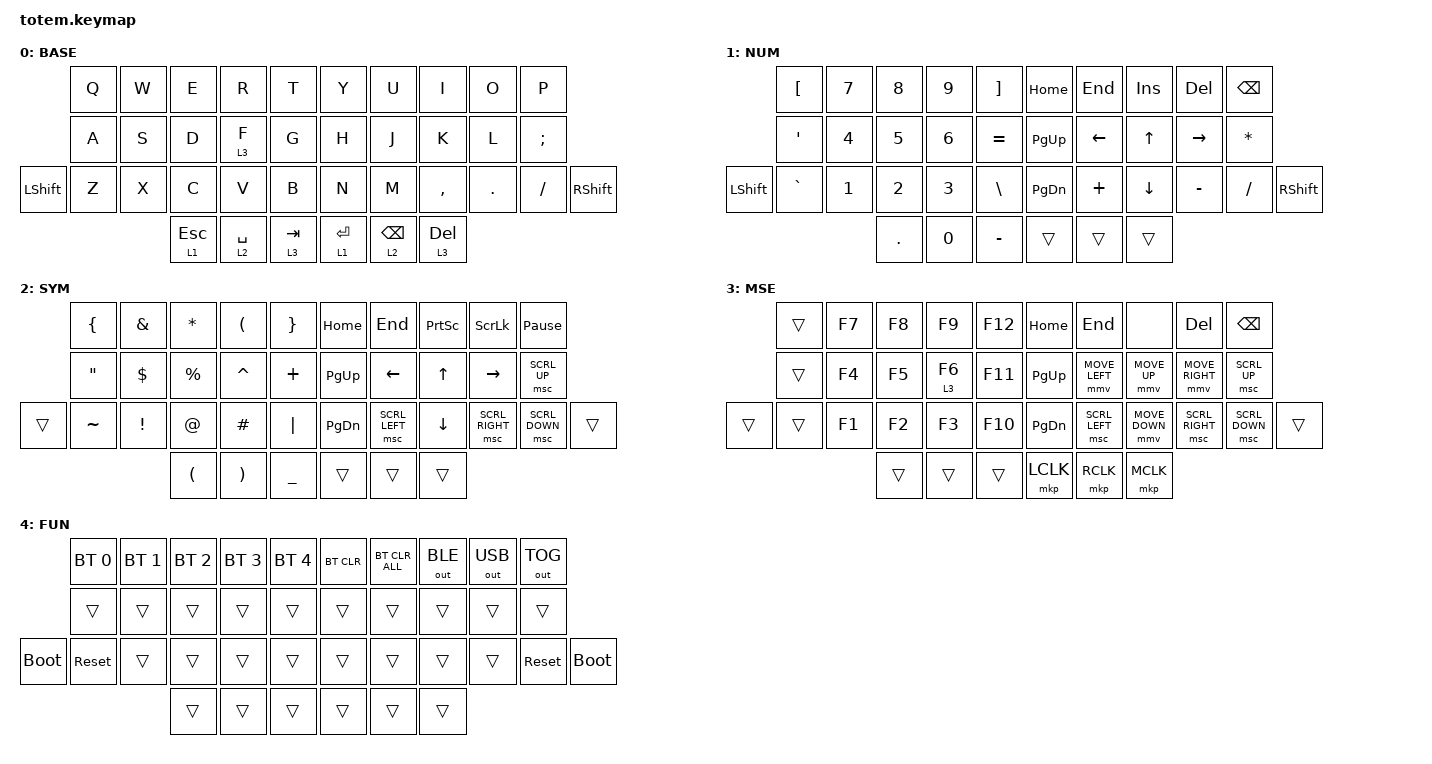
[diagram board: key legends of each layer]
//
//                                                        ▀▀▀▀▀     ▀▀▀▀▀          ▀▀█▀▀
//                                                        ▄▀▀▀▄  ▄  ▄▀▀▀▄  ▄  ▄▀▀▀▄  █  ▄▀▀▀▄
//                                                        █   █  █  █   █  █  █   █  █  █   █
//                                                         ▀▀▀   █   ▀▀▀   █   ▀▀▀   ▀   ▀▀▀
//                                                               █      ▄▄▄█▄▄▄    █   █  
//                                                               ▀      █  █  █     █▄█
//                                                             ▀▀▀▀▀    █  █  █      ▀
//                                                                      ▀  ▀  ▀
//
// ▄▄▄▄▄▄▄▄▄▄▄▄▄▄▄▄▄▄▄▄▄▄▄▄▄▄▄▄▄▄▄▄▄▄▄▄▄▄▄▄▄▄▄▄▄▄▄▄▄▄▄▄▄▄▄▄▄▄▄▄▄▄▄▄▄▄▄▄▄▄▄▄▄▄▄▄▄▄▄▄▄▄▄▄▄▄▄▄▄▄▄▄▄▄▄▄▄▄▄▄▄▄▄▄▄▄▄▄▄▄▄▄▄▄▄▄▄▄▄▄▄▄▄▄▄▄▄▄▄▄▄▄▄▄▄▄▄▄▄▄▄▄▄▄▄▄▄▄▄

#define ZMK_POINTING_DEFAULT_MOVE_VAL 800  // default: 600
#define ZMK_POINTING_DEFAULT_SCRL_VAL 50    // default: 10

#include <behaviors.dtsi>
#include <dt-bindings/zmk/bt.h>
#include <dt-bindings/zmk/keys.h>
#include <dt-bindings/zmk/outputs.h>
#include <dt-bindings/zmk/pointing.h>

#define BASE 0
#define NAV  1
#define SYM  2
#define ADJ  3
#define TVP1 4
#define TVP2 5

&mt {
    quick-tap-ms = <150>;
    global-quick-tap;
    flavor = "tap-preferred";
};

&lt { quick-tap-ms = <180>; };

/ {
    combos {
        compatible = "zmk,combos";

        combo_esc {
            timeout-ms = <50>;
            key-positions = <0 1>;
            bindings = <&kp ESC>;
            layers = <0 1 2 3>;
            require-prior-idle-ms = <100>;
        };

        combo_lshift {
            bindings = <&kp LSHIFT>;
            key-positions = <13 12>;
            timeout-ms = <50>;
            layers = <0 2 3 1>;
            require-prior-idle-ms = <100>;
            slow-release;
        };

        combo_return {
            bindings = <&kp RET>;
            key-positions = <19 31>;
            timeout-ms = <50>;
            layers = <0 1 2 3>;
            require-prior-idle-ms = <100>;
        };

        combo_rshift {
            bindings = <&kp RSHIFT>;
            key-positions = <17 16>;
            timeout-ms = <50>;
            layers = <0 1 2>;
            require-prior-idle-ms = <100>;
            slow-release;
        };

        combo_capslock {
            bindings = <&kp CAPSLOCK>;
            key-positions = <20 10>;
            timeout-ms = <50>;
            layers = <0>;
            require-prior-idle-ms = <100>;
        };

        combo_cut {
            bindings = <&kp LC(X)>;
            key-positions = <22 24>;
            timeout-ms = <50>;
            layers = <0>;
            require-prior-idle-ms = <100>;
        };

        combo_copy {
            bindings = <&kp LC(C)>;
            key-positions = <22 23>;
            timeout-ms = <50>;
            layers = <0>;
            require-prior-idle-ms = <100>;
        };

        combo_paste {
            bindings = <&kp LC(V)>;
            key-positions = <23 24>;
            timeout-ms = <50>;
            layers = <0>;
            require-prior-idle-ms = <100>;
        };

        combo_multiply {
            bindings = <&kp ASTERISK>;
            key-positions = <12 2>;
            timeout-ms = <50>;
            require-prior-idle-ms = <100>;
            layers = <1>;
        };

        combo_minus {
            bindings = <&kp MINUS>;
            key-positions = <3 13>;
            timeout-ms = <50>;
            require-prior-idle-ms = <100>;
            layers = <1>;
        };

        combo_divide {
            bindings = <&kp SLASH>;
            key-positions = <1 11>;
            timeout-ms = <50>;
            require-prior-idle-ms = <100>;
            layers = <1>;
        };

        combo_plus {
            bindings = <&kp PLUS>;
            key-positions = <4 14>;
            timeout-ms = <50>;
            require-prior-idle-ms = <100>;
            layers = <1>;
        };

        combo_enter {
            bindings = <&kp ENTER>;
            key-positions = <25 24>;
            timeout-ms = <50>;
            require-prior-idle-ms = <100>;
            layers = <1>;
        };

        combo_comma {
            bindings = <&kp COMMA>;
            key-positions = <23 24>;
            timeout-ms = <50>;
            require-prior-idle-ms = <100>;
            layers = <1>;
        };

        combo_dot {
            bindings = <&kp PERIOD>;
            key-positions = <23 22>;
            timeout-ms = <50>;
            require-prior-idle-ms = <100>;
            layers = <1>;
        };

        combo_caps {
            bindings = <&kp CLCK>;
            key-positions = <13 11>;
            timeout-ms = <50>;
            require-prior-idle-ms = <100>;
            layers = <1>;
        };

        combo_lctrl {
            bindings = <&kp LCTRL>;
            key-positions = <11 12>;
            timeout-ms = <50>;
            require-prior-idle-ms = <100>;
            layers = <0 2 3 1>;
            slow-release;
        };

        combo_lalt {
            bindings = <&kp LALT>;
            key-positions = <11 10>;
            timeout-ms = <50>;
            require-prior-idle-ms = <100>;
            layers = <0 2 3 1>;
            slow-release;
        };

        combo_lgui {
            bindings = <&kp LWIN>;
            key-positions = <13 14>;
            timeout-ms = <50>;
            require-prior-idle-ms = <100>;
            layers = <0 2 3 1>;
            slow-release;
        };

        combo_rgui {
            bindings = <&kp RWIN>;
            key-positions = <15 16>;
            timeout-ms = <50>;
            require-prior-idle-ms = <100>;
            layers = <0 1 2>;
            slow-release;
        };

        combo_ralt {
            bindings = <&kp LALT>;
            key-positions = <18 19>;
            timeout-ms = <50>;
            require-prior-idle-ms = <100>;
            layers = <0 1 2>;
            slow-release;
        };

        combo_rctrl {
            bindings = <&kp LCTRL>;
            key-positions = <17 18>;
            timeout-ms = <50>;
            require-prior-idle-ms = <100>;
            layers = <0 1 2>;
            slow-release;
        };

        combo_lshift_lctrl {
            bindings = <&kp LS(LCTRL)>;
            key-positions = <11 12 13>;
            timeout-ms = <50>;
            require-prior-idle-ms = <100>;
            layers = <0 1 2 3>;
            slow-release;
        };

        combo_lshift_lalt {
            bindings = <&kp LA(LSHIFT)>;
            key-positions = <10 13 12>;
            timeout-ms = <50>;
            require-prior-idle-ms = <100>;
            layers = <0 1 2 3>;
            slow-release;
        };

        combo_lctrl_lalt {
            bindings = <&kp LA(LCTRL)>;
            key-positions = <11 12 10>;
            timeout-ms = <50>;
            require-prior-idle-ms = <100>;
            layers = <0 1 2 3>;
            slow-release;
        };

        combo_lctrl_lgui {
            bindings = <&kp LG(LCTRL)>;
            key-positions = <11 13 12 10>;
            timeout-ms = <50>;
            require-prior-idle-ms = <100>;
            layers = <0 1 2 3>;
            slow-release;
        };

        combo_rshift_rctrl {
            bindings = <&kp LS(LCTRL)>;
            key-positions = <18 17 16>;
            timeout-ms = <50>;
            require-prior-idle-ms = <100>;
            layers = <0 1 2>;
            slow-release;
        };

        combo_rshift_ralt {
            bindings = <&kp LA(LSHIFT)>;
            key-positions = <16 19 17>;
            timeout-ms = <50>;
            require-prior-idle-ms = <100>;
            layers = <0 1 2>;
            slow-release;
        };

        combo_rctrl_ralt {
            bindings = <&kp LA(LCTRL)>;
            key-positions = <17 18 19>;
            timeout-ms = <50>;
            require-prior-idle-ms = <100>;
            layers = <0 1 2>;
            slow-release;
        };

        combo_rctrl_rgui {
            bindings = <&kp LG(LCTRL)>;
            key-positions = <16 17 18 19>;
            timeout-ms = <50>;
            require-prior-idle-ms = <100>;
            layers = <0 1>;
        };

        combo_ko_en {
            bindings = <&kp RALT>;
            key-positions = <16 18>;
            timeout-ms = <50>;
            require-prior-idle-ms = <100>;
            layers = <0 1 2>;
        };

        combo_hanja {
            bindings = <&kp RCTRL>;
            key-positions = <17 19>;
            timeout-ms = <50>;
            require-prior-idle-ms = <100>;
            layers = <0 1 2>;
        };

        combo_undo {
            bindings = <&kp LC(Z)>;
            key-positions = <22 21>;
            timeout-ms = <50>;
            require-prior-idle-ms = <100>;
            layers = <0>;
        };

        combo_redo {
            bindings = <&kp LC(Y)>;
            key-positions = <24 25>;
            timeout-ms = <50>;
            require-prior-idle-ms = <100>;
            layers = <0>;
        };

        combo_mse_tab {
            bindings = <&tog 3>;
            key-positions = <33 34>;
            layers = <0 3>;
        };

        combo_mse_del {
            bindings = <&tog 3>;
            key-positions = <35 36>;
            layers = <0 3>;
        };

        combo_prev {
            bindings = <&mkp MB4>;
            key-positions = <16 27>;
            timeout-ms = <50>;
            require-prior-idle-ms = <100>;
            layers = <0 2 3 1>;
        };

        combo_next {
            bindings = <&mkp MB5>;
            key-positions = <17 28>;
            timeout-ms = <50>;
            require-prior-idle-ms = <100>;
            layers = <0 2 3 1>;
        };
    };

    macros {
        gif: gif {
            label = "giphy";
            compatible = "zmk,behavior-macro";
            #binding-cells = <0>;
            bindings =
                <&macro_press>,
                <&kp LSHFT>,
                <&macro_tap>,
                <&kp N2>,
                <&macro_release>,
                <&kp LSHFT>,
                <&macro_tap>,
                <&kp G &kp I &kp F>;
        };
    };

    behaviors {
        hm: homerow_mods {
            compatible = "zmk,behavior-hold-tap";
            label = "HOMEROW_MODS";
            bindings = <&kp>, <&kp>;

            #binding-cells = <2>;
            tapping-term-ms = <250>;
            quick-tap-ms = <200>;
            flavor = "tap-preferred";
        };
    };

    keymap {
        compatible = "zmk,keymap";

        // ▄▄▄▄▄▄▄▄▄▄▄▄▄▄▄▄▄▄▄▄▄▄▄▄▄▄▄▄▄▄▄▄▄▄▄▄▄▄▄▄▄▄▄▄▄▄▄▄▄▄▄▄▄▄▄▄▄▄▄▄▄▄▄▄▄▄▄▄▄▄▄▄▄▄▄▄▄▄▄▄▄▄▄▄▄▄▄▄▄▄▄▄▄▄▄▄▄▄▄▄▄▄▄▄▄▄▄▄▄▄▄▄▄▄▄▄▄▄▄▄▄▄▄▄▄▄▄▄▄▄▄▄▄▄▄▄▄▄▄▄▄▄▄▄▄▄▄▄▄

        base_layer {
            // ┏━━━━━━━━━━━━━━━━━━━━━━━━━━━━━━━━━━━━━━━┓

            label = "BASE";

            // ┗━━━━━━━━━━━━━━━━━━━━━━━━━━━━━━━━━━━━━━━┛
            //             ┏━━━━━━━━━━━┳━━━━━━━━━━━┳━━━━━━━━━━━┳━━━━━━━━━━━┳━━━━━━━━━━━┓   ┏━━━━━━━━━━━┳━━━━━━━━━━━┳━━━━━━━━━━━┳━━━━━━━━━━━┳━━━━━━━━━━━┓
            //             ┃     Q     ┃     W     ┃     F     ┃     P     ┃     G     ┃   ┃     J     ┃     L     ┃     U     ┃     Y     ┃     ;     ┃
            //             ┣━━━━━━━━━━━╋━━━━━━━━━━━╋━━━━━━━━━━━╋━━━━━━━━━━━╋━━━━━━━━━━━┫   ┣━━━━━━━━━━━╋━━━━━━━━━━━╋━━━━━━━━━━━╋━━━━━━━━━━━╋━━━━━━━━━━━┫
            //             ┃     A     ┃     R     ┃     S     ┃     T     ┃     D     ┃   ┃     H     ┃     N     ┃     E     ┃     I     ┃     O     ┃
            // ┏━━━━━━━━━━━╋━━━━━━━━━━━╋━━━━━━━━━━━╋━━━━━━━━━━━╋━━━━━━━━━━━╋━━━━━━━━━━━┫   ┣━━━━━━━━━━━╋━━━━━━━━━━━╋━━━━━━━━━━━╋━━━━━━━━━━━╋━━━━━━━━━━━╋━━━━━━━━━━━┓
            // ┃     Q     ┃     Z     ┃     X     ┃     C     ┃     V     ┃     B     ┃   ┃     K     ┃     M     ┃     ,     ┃     .     ┃     /     ┃     \     ┃
            // ┗━━━━━━━━━━━┻━━━━━━━━━━━┻━━━━━━━━━━━╋━━━━━━━━━━━╋━━━━━━━━━━━╋━━━━━━━━━━━┫   ┣━━━━━━━━━━━╋━━━━━━━━━━━╋━━━━━━━━━━━╋━━━━━━━━━━━┻━━━━━━━━━━━┻━━━━━━━━━━━┛
            //                                     ┃    DEL    ┃    TAB    ┃    SPC    ┃   ┃   ENTER   ┃           ┃   BSPC    ┃
            //                                     ┗━━━━━━━━━━━┻━━━━━━━━━━━┻━━━━━━━━━━━┛   ┗━━━━━━━━━━━┻━━━━━━━━━━━┻━━━━━━━━━━━┛

            bindings = <
            &kp Q  &kp W  &kp E      &kp R        &kp T        &kp Y        &kp U       &kp I      &kp O    &kp P
            &kp A  &kp S  &kp D      &lt 3 F      &kp G        &kp H        &kp J       &kp K      &kp L    &kp SEMI
&kp LSHIFT  &kp Z  &kp X  &kp C      &kp V        &kp B        &kp N        &kp M       &kp COMMA  &kp DOT  &kp FSLH  &kp RSHIFT
                          &lt 1 ESC  &lt 2 SPACE  &lt 3 TAB    &lt 1 ENTER  &lt 2 BSPC  &lt 3 DEL
            >;
        };

        num_layer {
            bindings = <
            &kp LEFT_BRACKET  &kp N7  &kp N8      &kp N9  &kp RIGHT_BRACKET    &kp HOME   &kp END   &kp INS   &kp DEL    &kp BSPC
            &kp SQT           &kp N4  &kp N5      &kp N6  &kp EQUAL            &kp PG_UP  &kp LEFT  &kp UP    &kp RIGHT  &kp STAR
&kp LSHIFT  &kp GRAVE         &kp N1  &kp N2      &kp N3  &kp BACKSLASH        &kp PG_DN  &kp PLUS  &kp DOWN  &kp MINUS  &kp SLASH  &kp RSHIFT
                                      &kp PERIOD  &kp N0  &kp MINUS            &trans     &trans    &trans
            >;

            label = "NUM";
        };

        sym_layer {
            // ┏━━━━━━━━━━━━━━━━━━━━━━━━━━━━━━━━━━━━━━━┓

            label = "SYM";

            // ┗━━━━━━━━━━━━━━━━━━━━━━━━━━━━━━━━━━━━━━━┛
            //             ┏━━━━━━━━━━━┳━━━━━━━━━━━┳━━━━━━━━━━━┳━━━━━━━━━━━┳━━━━━━━━━━━┓   ┏━━━━━━━━━━━┳━━━━━━━━━━━┳━━━━━━━━━━━┳━━━━━━━━━━━┳━━━━━━━━━━━┓
            //             ┃     !     ┃     @     ┃     #     ┃     $     ┃     %     ┃   ┃     ˆ     ┃     &     ┃     Ü     ┃     '     ┃     "     ┃
            //             ┣━━━━━━━━━━━╋━━━━━━━━━━━╋━━━━━━━━━━━╋━━━━━━━━━━━╋━━━━━━━━━━━┫   ┣━━━━━━━━━━━╋━━━━━━━━━━━╋━━━━━━━━━━━╋━━━━━━━━━━━╋━━━━━━━━━━━┫
            //             ┃     Ä     ┃           ┃    SZ     ┃           ┃           ┃   ┃   MUTE    ┃   YEN     ┃   EURO    ┃  POUND    ┃     Ö     ┃
            // ┏━━━━━━━━━━━╋━━━━━━━━━━━╋━━━━━━━━━━━╋━━━━━━━━━━━╋━━━━━━━━━━━╋━━━━━━━━━━━┫   ┣━━━━━━━━━━━╋━━━━━━━━━━━╋━━━━━━━━━━━╋━━━━━━━━━━━╋━━━━━━━━━━━╋━━━━━━━━━━━┓
            // ┃           ┃  EMAIL1   ┃  EMAIL2   ┃           ┃           ┃           ┃   ┃   VOL-    ┃   VOL+    ┃   LAST    ┃   NEXT    ┃     \     ┃           ┃
            // ┗━━━━━━━━━━━┻━━━━━━━━━━━┻━━━━━━━━━━━╋━━━━━━━━━━━╋━━━━━━━━━━━╋━━━━━━━━━━━┫   ┣━━━━━━━━━━━╋━━━━━━━━━━━╋━━━━━━━━━━━╋━━━━━━━━━━━┻━━━━━━━━━━━┻━━━━━━━━━━━┛
            //                                     ┃           ┃    GIF    ┃    ADJ    ┃   ┃           ┃           ┃           ┃
            //                                     ┗━━━━━━━━━━━┻━━━━━━━━━━━┻━━━━━━━━━━━┛   ┗━━━━━━━━━━━┻━━━━━━━━━━━┻━━━━━━━━━━━┛

            bindings = <
        &kp LEFT_BRACE     &kp AMPERSAND    &kp ASTERISK          &kp LEFT_PARENTHESIS   &kp RIGHT_BRACE    &kp HOME   &kp END         &kp PRINTSCREEN  &kp SCROLLLOCK   &kp PAUSE_BREAK
        &kp DOUBLE_QUOTES  &kp DLLR         &kp PRCNT             &kp CARET              &kp PLUS           &kp PG_UP  &kp LEFT        &kp UP           &kp RIGHT        &msc SCRL_UP
&trans  &kp TILDE          &kp EXCLAMATION  &kp AT_SIGN           &kp HASH               &kp PIPE           &kp PG_DN  &msc SCRL_LEFT  &kp DOWN         &msc SCRL_RIGHT  &msc SCRL_DOWN   &trans
                                            &kp LEFT_PARENTHESIS  &kp RIGHT_PARENTHESIS  &kp UNDERSCORE     &trans     &trans          &trans
            >;
        };

        mouse_layer {
            // ┏━━━━━━━━━━━━━━━━━━━━━━━━━━━━━━━━━━━━━━━┓

            label = "MSE";

            // ┗━━━━━━━━━━━━━━━━━━━━━━━━━━━━━━━━━━━━━━━┛
            //             ┏━━━━━━━━━━━┳━━━━━━━━━━━┳━━━━━━━━━━━┳━━━━━━━━━━━┳━━━━━━━━━━━┓   ┏━━━━━━━━━━━┳━━━━━━━━━━━┳━━━━━━━━━━━┳━━━━━━━━━━━┳━━━━━━━━━━━┓
            //             ┃   RESET   ┃ BT CLEAR  ┃  OUT TOG  ┃           ┃           ┃   ┃           ┃    F7     ┃    F8     ┃    F9     ┃    F12    ┃
            //             ┣━━━━━━━━━━━╋━━━━━━━━━━━╋━━━━━━━━━━━╋━━━━━━━━━━━╋━━━━━━━━━━━┫   ┣━━━━━━━━━━━╋━━━━━━━━━━━╋━━━━━━━━━━━╋━━━━━━━━━━━╋━━━━━━━━━━━┫
            //             ┃ BOOTLOAD  ┃ BT NEXT   ┃           ┃           ┃           ┃   ┃           ┃    F4     ┃    F5     ┃    F6     ┃    F11    ┃
            // ┏━━━━━━━━━━━╋━━━━━━━━━━━╋━━━━━━━━━━━╋━━━━━━━━━━━╋━━━━━━━━━━━╋━━━━━━━━━━━┫   ┣━━━━━━━━━━━╋━━━━━━━━━━━╋━━━━━━━━━━━╋━━━━━━━━━━━╋━━━━━━━━━━━╋━━━━━━━━━━━┓
            // ┃           ┃           ┃ BT PREV   ┃           ┃           ┃           ┃   ┃           ┃    F1     ┃    F2     ┃    F3     ┃    F10    ┃           ┃
            // ┗━━━━━━━━━━━┻━━━━━━━━━━━┻━━━━━━━━━━━╋━━━━━━━━━━━╋━━━━━━━━━━━╋━━━━━━━━━━━┫   ┣━━━━━━━━━━━╋━━━━━━━━━━━╋━━━━━━━━━━━╋━━━━━━━━━━━┻━━━━━━━━━━━┻━━━━━━━━━━━┛
            //                                     ┃           ┃           ┃           ┃   ┃           ┃           ┃           ┃
            //                                     ┗━━━━━━━━━━━┻━━━━━━━━━━━┻━━━━━━━━━━━┛   ┗━━━━━━━━━━━┻━━━━━━━━━━━┻━━━━━━━━━━━┛

            bindings = <
        &trans  &kp F7  &kp F8  &kp F9    &kp F12    &kp HOME   &kp END         &none           &kp DEL          &kp BSPC
        &trans  &kp F4  &kp F5  &lt 3 F6  &kp F11    &kp PG_UP  &mmv MOVE_LEFT  &mmv MOVE_UP    &mmv MOVE_RIGHT  &msc SCRL_UP
&trans  &trans  &kp F1  &kp F2  &kp F3    &kp F10    &kp PG_DN  &msc SCRL_LEFT  &mmv MOVE_DOWN  &msc SCRL_RIGHT  &msc SCRL_DOWN  &trans
                        &trans  &trans    &trans     &mkp LCLK  &mkp RCLK       &mkp MCLK
            >;
        };

        fun_layer {
            bindings = <
             &bt BT_SEL 0  &bt BT_SEL 1  &bt BT_SEL 2  &bt BT_SEL 3  &bt BT_SEL 4    &bt BT_CLR  &bt BT_CLR_ALL  &out OUT_BLE  &out OUT_USB  &out OUT_TOG
             &trans        &trans        &trans        &trans        &trans          &trans      &trans          &trans        &trans        &trans
&bootloader  &sys_reset    &trans        &trans        &trans        &trans          &trans      &trans          &trans        &trans        &sys_reset    &bootloader
                                         &trans        &trans        &trans          &trans      &trans          &trans
            >;

            label = "FUN";
        };
    };

    conditional_layers {
        compatible = "zmk,conditional-layers";

        fun_layer {
            if-layers = <1 3>;
            then-layer = <4>;
        };
    };
};
